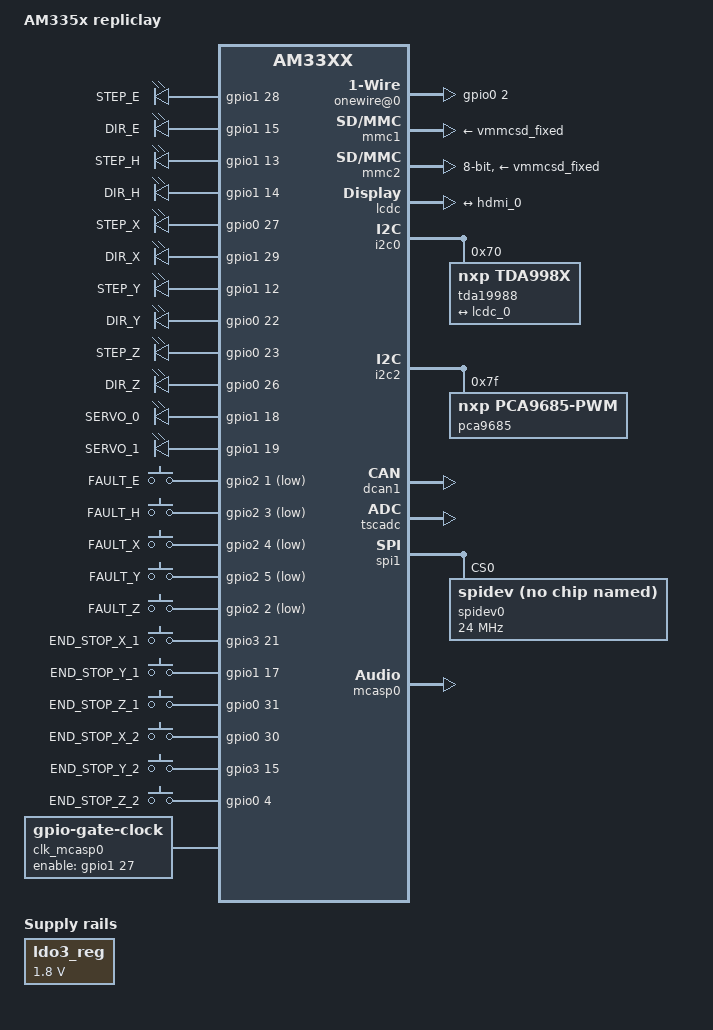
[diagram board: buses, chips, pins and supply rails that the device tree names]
/*
 * Copyright (C) 2012 Texas Instruments Incorporated - http://www.ti.com/
 *
 * This program is free software; you can redistribute it and/or modify
 * it under the terms of the GNU General Public License version 2 as
 * published by the Free Software Foundation.
 */
/dts-v1/;

#include "am33xx.dtsi"
#include "am335x-bone-common.dtsi"
#include <dt-bindings/display/tda998x.h>

/ {
	model = "AM335x repliclay";
	compatible = "ti,am335x-bone-black", "ti,am335x-bone", "ti,am33xx";

	exclusive-use = "P9.22";	/* Dallas 1Wire uses */

	/** Free up the pins used by dallas 1Wire from the pinmux helpers.**/
	ocp {
		P9_22_pinmux { status = "disabled"; };		/* (P9_22) gpio0_2.DALLAS_W1 */
	};
};

&ldo3_reg {
	regulator-min-microvolt = <1800000>;
	regulator-max-microvolt = <1800000>;
	regulator-always-on;
};

&mmc1 {
	vmmc-supply = <&vmmcsd_fixed>;
};

&mmc2 {
	vmmc-supply = <&vmmcsd_fixed>;
	pinctrl-names = "default";
	pinctrl-0 = <&emmc_pins>;
	bus-width = <8>;
	status = "okay";
};

&am33xx_pinmux {
	nxp_hdmi_bonelt_pins: nxp_hdmi_bonelt_pins {
		pinctrl-single,pins = <
			AM33XX_IOPAD(0x9b0, PIN_OUTPUT_PULLDOWN | MUX_MODE3)	/* xdma_event_intr0 */
			AM33XX_IOPAD(0x8a0, PIN_OUTPUT | MUX_MODE0)				/* lcd_data0.lcd_data0 */
			AM33XX_IOPAD(0x8a4, PIN_OUTPUT | MUX_MODE0)				/* lcd_data1.lcd_data1 */
			AM33XX_IOPAD(0x8a8, PIN_OUTPUT | MUX_MODE0)				/* lcd_data2.lcd_data2 */
			AM33XX_IOPAD(0x8ac, PIN_OUTPUT | MUX_MODE0)				/* lcd_data3.lcd_data3 */
			AM33XX_IOPAD(0x8b0, PIN_OUTPUT | MUX_MODE0)				/* lcd_data4.lcd_data4 */
			AM33XX_IOPAD(0x8b4, PIN_OUTPUT | MUX_MODE0)				/* lcd_data5.lcd_data5 */
			AM33XX_IOPAD(0x8b8, PIN_OUTPUT | MUX_MODE0)				/* lcd_data6.lcd_data6 */
			AM33XX_IOPAD(0x8bc, PIN_OUTPUT | MUX_MODE0)				/* lcd_data7.lcd_data7 */
			AM33XX_IOPAD(0x8c0, PIN_OUTPUT | MUX_MODE0)				/* lcd_data8.lcd_data8 */
			AM33XX_IOPAD(0x8c4, PIN_OUTPUT | MUX_MODE0)				/* lcd_data9.lcd_data9 */
			AM33XX_IOPAD(0x8c8, PIN_OUTPUT | MUX_MODE0)				/* lcd_data10.lcd_data10 */
			AM33XX_IOPAD(0x8cc, PIN_OUTPUT | MUX_MODE0)				/* lcd_data11.lcd_data11 */
			AM33XX_IOPAD(0x8d0, PIN_OUTPUT | MUX_MODE0)				/* lcd_data12.lcd_data12 */
			AM33XX_IOPAD(0x8d4, PIN_OUTPUT | MUX_MODE0)				/* lcd_data13.lcd_data13 */
			AM33XX_IOPAD(0x8d8, PIN_OUTPUT | MUX_MODE0)				/* lcd_data14.lcd_data14 */
			AM33XX_IOPAD(0x8dc, PIN_OUTPUT | MUX_MODE0)				/* lcd_data15.lcd_data15 */
			AM33XX_IOPAD(0x8e0, PIN_OUTPUT_PULLDOWN | MUX_MODE0)	/* lcd_vsync.lcd_vsync */
			AM33XX_IOPAD(0x8e4, PIN_OUTPUT_PULLDOWN | MUX_MODE0)	/* lcd_hsync.lcd_hsync */
			AM33XX_IOPAD(0x8e8, PIN_OUTPUT_PULLDOWN | MUX_MODE0)	/* lcd_pclk.lcd_pclk */
			AM33XX_IOPAD(0x8ec, PIN_OUTPUT_PULLDOWN | MUX_MODE0)	/* lcd_ac_bias_en.lcd_ac_bias_en */
		>;
	};

	nxp_hdmi_bonelt_off_pins: nxp_hdmi_bonelt_off_pins {
		pinctrl-single,pins = <
			AM33XX_IOPAD(0x9b0, PIN_OUTPUT_PULLDOWN | MUX_MODE3)	/* xdma_event_intr0 */
		>;
	};

	dcan1_pins: pinmux_dcan1_pins {
		pinctrl-single,pins = <			
			AM33XX_IOPAD(0x968, PIN_OUTPUT | MUX_MODE2) 			/* uart1_rxd.dcan1_tx */			
			AM33XX_IOPAD(0x96C, PIN_INPUT_PULLDOWN | MUX_MODE2) 	/* uart1_txd.dcan1_rx */			
		>;
	};
	dcan1_stb_pins: pinmux_dcan1_stb_pins {
		pinctrl-single,pins = <
			AM33XX_IOPAD(0x9A4, PIN_OUTPUT | MUX_MODE7) 			/* gpio3_19.gpio3_19 */
		>;
	};

	/** transfer "END_STOP_Y_2" P9.28->P9.29**/
	/** transfer "SPI_CS1" P9.42->P9.28**/
	spi1_pins: pinmux_spi1_pins {
		pinctrl-single,pins = <			
			AM33XX_IOPAD(0x990, PIN_INPUT | MUX_MODE3) 				/* spi1_sclk.SPI_SCLK */					
			AM33XX_IOPAD(0x998, PIN_INPUT | MUX_MODE3) 				/* spi1_d1.SPI_MOSI */			
			AM33XX_IOPAD(0x99C, PIN_OUTPUT | MUX_MODE3) 			/* spi1_cs0.SPI_CS1 */			
		>;
	};

	pca9685pw_en_pins: pinmux_pca9685pw_en_pins {
		pinctrl-single,pins = <
			AM33XX_IOPAD(0x9B4, PIN_OUTPUT | MUX_MODE7) 			/* gpio0_20.ENABLE */
		>;
	};

	TMC2100_LA_drive_pins: pinmux_TMC2100_LA_drive_pins {
		pinctrl-single,pins = <
			AM33XX_IOPAD(0x878, PIN_OUTPUT  | MUX_MODE7)			/* (P9_12) gpio1_28.STEP_E */
			AM33XX_IOPAD(0x83C, PIN_OUTPUT  | MUX_MODE7)			/* (P8_15) gpio1_15.DIR_E */
			AM33XX_IOPAD(0x834, PIN_OUTPUT  | MUX_MODE7)			/* (P8_11) gpio1_13.STEP_H */
			AM33XX_IOPAD(0x838, PIN_OUTPUT  | MUX_MODE7)			/* (P8_16) gpio1_14.DIR_H */
			AM33XX_IOPAD(0x82C, PIN_OUTPUT  | MUX_MODE7)			/* (P8_17) gpio0_27.STEP_X */
			AM33XX_IOPAD(0x87C, PIN_OUTPUT  | MUX_MODE7)			/* (P8_26) gpio1_29.DIR_X */
			AM33XX_IOPAD(0x830, PIN_OUTPUT  | MUX_MODE7)			/* (P8_12) gpio1_12.STEP_Y */
			AM33XX_IOPAD(0x820, PIN_OUTPUT  | MUX_MODE7)			/* (P8_19) gpio0_22.DIR_Y */
			AM33XX_IOPAD(0x824, PIN_OUTPUT  | MUX_MODE7)			/* (P8_13) gpio0_23.STEP_Z */
			AM33XX_IOPAD(0x828, PIN_OUTPUT  | MUX_MODE7)			/* (P8_14) gpio0_26.DIR_Z */
			AM33XX_IOPAD(0x848, PIN_OUTPUT  | MUX_MODE7)			/* (P9_14) gpio1_18.SERVO_0 */
			AM33XX_IOPAD(0x84C, PIN_OUTPUT  | MUX_MODE7)			/* (P9_16) gpio1_19.SERVO_1 */
		>;
	};

	mcasp0_pins: mcasp0_pins {
		pinctrl-single,pins = <
			AM33XX_IOPAD(0x9ac, PIN_INPUT_PULLUP | MUX_MODE0) 		/* mcasp0_ahcklx.mcasp0_ahclkx */
			AM33XX_IOPAD(0x99c, PIN_OUTPUT_PULLDOWN | MUX_MODE2) 	/* mcasp0_ahclkr.mcasp0_axr2*/
			AM33XX_IOPAD(0x994, PIN_OUTPUT_PULLUP | MUX_MODE0) 		/* mcasp0_fsx.mcasp0_fsx */
			AM33XX_IOPAD(0x990, PIN_OUTPUT_PULLDOWN | MUX_MODE0) 	/* mcasp0_aclkx.mcasp0_aclkx */
			AM33XX_IOPAD(0x86c, PIN_OUTPUT_PULLDOWN | MUX_MODE7) 	/* gpmc_a11.GPIO1_27 */
		>;
	};

	w1_pins: pinmux_w1_pins {
		pinctrl-single,pins = <
			AM33XX_IOPAD(0x950, PIN_INPUT | MUX_MODE7)				/* (P9_22) gpio0_2.DALLAS_W1 */
        >;
    };
};

&lcdc {
	status = "okay";
	port {
		lcdc_0: endpoint@0 {
			remote-endpoint = <&hdmi_0>;
		};
	};
};

&i2c0 {
	status = "okay";
	tda19988: tda19988@70 {
		compatible = "nxp,tda998x";
		reg = <0x70>;

		pinctrl-names = "default", "off";
		pinctrl-0 = <&nxp_hdmi_bonelt_pins>;
		pinctrl-1 = <&nxp_hdmi_bonelt_off_pins>;

		#sound-dai-cells = <0>;
		audio-ports = <	TDA998x_I2S	0x03>;

		ports {
			port@0 {
				hdmi_0: endpoint@0 {
					remote-endpoint = <&lcdc_0>;
				};
			};
		};
	};
};

&i2c2 {
	status = "okay";
	pca9685: pca9685@7F {
		compatible = "nxp,pca9685-pwm";
		#pwm-cells = <2>;
		reg = <0x7F>;
		/* invert; */
		/* open-drain; */
	};
};

&rtc {
	system-power-controller;
};

&dcan1 {
	status = "okay";
	pinctrl-names = "default";
	pinctrl-0 = <&dcan1_pins>;
	pinctrl-1 = <&dcan1_stb_pins>;
};

&tscadc {
	status = "okay";

	adc {
		ti,adc-channels = <4 5 6 7>;
	};
};

&spi1 {
        status = "okay";
        pinctrl-names = "default";
        /* fsl,spi-num-chipselects = <1>; */
    	/* cs-gpios = <&gpio5 17 0>; */
        pinctrl-0 = <&spi1_pins>;
        spidev0: spi@0 {
        	compatible = "rohm,dh2228fv";
            spi-max-frequency = <24000000>;
            reg = <0>;						/* reg property is a chip select pin num*/            
        };
};

&mcasp0	{
	#sound-dai-cells = <0>;
	pinctrl-names = "default";
	pinctrl-0 = <&mcasp0_pins>;
	status = "okay";
	op-mode = <0>;	/* MCASP_IIS_MODE */
	tdm-slots = <2>;
	serial-dir = <	/* 0: INACTIVE, 1: TX, 2: RX */
			0 0 1 0
		>;
	tx-num-evt = <32>;
	rx-num-evt = <32>;
};

/ {
	
	steppers_drive_pins {
		compatible = "gpio-leds";
		status = "okay";
		pinctrl-names = "default";
		pinctrl-0 = <&TMC2100_LA_drive_pins>;		

		step_e {
			label = "STEP_E";
			gpios = <&gpio1 28 GPIO_ACTIVE_HIGH>;	/*(P9_12)*/
			default-state = "off";
		};

		dir_e {
			label = "DIR_E";
			gpios = <&gpio1 15 GPIO_ACTIVE_HIGH>;	/*(P8_15)*/
			default-state = "off";
		};

		step_h {
			label = "STEP_H";
			gpios = <&gpio1 13 GPIO_ACTIVE_HIGH>;	/*(P8_11)*/
			default-state = "off";
		};

		dir_h {
			label = "DIR_H";
			gpios = <&gpio1 14 GPIO_ACTIVE_HIGH>;	/*(P8_16)*/
			default-state = "off";
		};

		step_x {
			label = "STEP_X";
			gpios = <&gpio0 27 GPIO_ACTIVE_HIGH>;	/*(P8_17)*/
			default-state = "off";
		};

		dir_x {
			label = "DIR_X";
			gpios = <&gpio1 29 GPIO_ACTIVE_HIGH>;	/*(P8_26)*/
			default-state = "off";
		};

		step_y {
			label = "STEP_Y";
			gpios = <&gpio1 12 GPIO_ACTIVE_HIGH>;	/*(P8_12)*/
			default-state = "off";
		};

		dir_y {
			label = "DIR_Y";
			gpios = <&gpio0 22 GPIO_ACTIVE_HIGH>;	/*(P8_19)*/
			default-state = "off";
		};

		step_z {
			label = "STEP_Z";
			gpios = <&gpio0 23 GPIO_ACTIVE_HIGH>;	/*(P8_13)*/
			default-state = "off";
		};

		dir_z {
			label = "DIR_Z";
			gpios = <&gpio0 26 GPIO_ACTIVE_HIGH>;	/*(P8_14)*/
			default-state = "off";
		};

		servo_0 {
			label = "SERVO_0";
			gpios = <&gpio1 18 GPIO_ACTIVE_HIGH>;	/*(P9_14)*/
			default-state = "off";
		};

		servo_1 {
			label = "SERVO_1";
			gpios = <&gpio1 19 GPIO_ACTIVE_HIGH>;	/*(P9_16)*/
			default-state = "off";
		};
	};

	stepper_fault_pins {
		compatible = "gpio-keys";
		status = "okay";
		#address-cells = <1>;
		#size-cells = <0>;

		fault_e {
			label = "FAULT_E";
			linux,code = <0x100>;					/* BTN_0 */
			gpios = <&gpio2 1 GPIO_ACTIVE_LOW>;		/*(P8_18)*/
		};

		fault_h {
			label = "FAULT_H";
			linux,code = <0x101>;					/* BTN_1 */
			gpios = <&gpio2 3 GPIO_ACTIVE_LOW>;		/*(P8_8)*/
		};

		fault_x {
			label = "FAULT_X";
			linux,code = <0x102>;					/* BTN_2 */
			gpios = <&gpio2 4 GPIO_ACTIVE_LOW>;		/*(P8_10)*/
		};

		fault_y {
			label = "FAULT_Y";
			linux,code = <0x103>;					/* BTN_3 */
			gpios = <&gpio2 5 GPIO_ACTIVE_LOW>;		/*(P8_9)*/
		};

		fault_z {
			label = "FAULT_Z";
			linux,code = <0x104>;					/* BTN_4 */
			gpios = <&gpio2 2 GPIO_ACTIVE_LOW>;		/*(P8_7)*/
		};
	};

	proximity_switches {
		compatible = "gpio-keys";
		status = "okay";
		#address-cells = <1>;
		#size-cells = <0>;

		end_x1 {
			label = "END_STOP_X_1";
			linux,code = <0x200>;					/* KEY_NUMERIC_0 */
			gpios = <&gpio3 21 GPIO_ACTIVE_HIGH>;	/*(P9_25)*/
		};

		end_y1 {
			label = "END_STOP_Y_1";
			linux,code = <0x201>;					/* KEY_NUMERIC_1 */
			gpios = <&gpio1 17 GPIO_ACTIVE_HIGH>;	/*(P9_23)*/
		};

		end_z1 {
			label = "END_STOP_Z_1";
			linux,code = <0x202>;					/* KEY_NUMERIC_2 */
			gpios = <&gpio0 31 GPIO_ACTIVE_HIGH>;	/*(P9_13)*/
		};

		end_x2 {
			label = "END_STOP_X_2";
			linux,code = <0x203>;					/* KEY_NUMERIC_3 */
			gpios = <&gpio0 30 GPIO_ACTIVE_HIGH>;	/*(P9_11)*/
		};

		end_y2 {
			label = "END_STOP_Y_2";
			linux,code = <0x204>;					/* KEY_NUMERIC_4 */
			gpios = <&gpio3 15 GPIO_ACTIVE_HIGH>;	/*(P9_29)*/
		};

		end_z2 {
			label = "END_STOP_Z_2";
			linux,code = <0x205>;					/* KEY_NUMERIC_5 */
			gpios = <&gpio0 4 GPIO_ACTIVE_HIGH>;	/*(P9_18)*/
		};
	};

	clk_mcasp0_fixed: clk_mcasp0_fixed {
		#clock-cells = <0>;
		compatible = "fixed-clock";
		clock-frequency = <24576000>;
	};

	clk_mcasp0: clk_mcasp0 {
		#clock-cells = <0>;
		compatible = "gpio-gate-clock";
		clocks = <&clk_mcasp0_fixed>;
		enable-gpios = <&gpio1 27 0>; /* BeagleBone Black Clk enable on GPIO1_27 */
	};

	onewire@0 {
        compatible = "w1-gpio";
        status = "okay";
        reg = <0>;
        pinctrl-names   = "default";
		pinctrl-0       = <&w1_pins>;
        gpios = <&gpio0 2 GPIO_ACTIVE_HIGH>; /* (P9_22) */        
    };

	sound {
		compatible = "simple-audio-card";
		simple-audio-card,name = "TI BeagleBone Black";
		simple-audio-card,format = "i2s";
		simple-audio-card,bitclock-master = <&dailink0_master>;
		simple-audio-card,frame-master = <&dailink0_master>;

		dailink0_master: simple-audio-card,cpu {
			sound-dai = <&mcasp0>;
			clocks = <&clk_mcasp0>;
		};

		simple-audio-card,codec {
			sound-dai = <&tda19988>;
		};
	};
};
